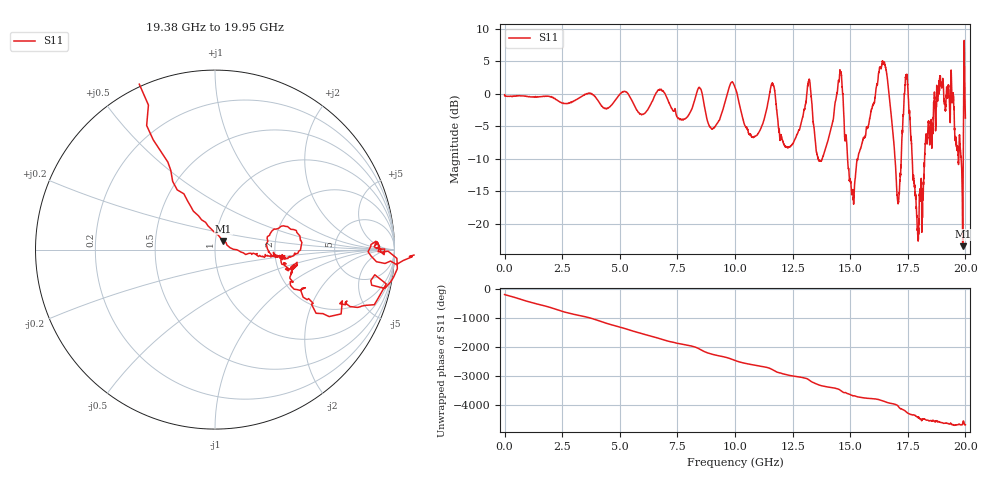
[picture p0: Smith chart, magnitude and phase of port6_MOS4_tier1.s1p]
! Created with skrf 1.8.0 (http://scikit-rf.org).
# GHz S RI R 50.0
!freq ReS11 ImS11
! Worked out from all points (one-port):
!   10001 points, 1 MHz to 20 GHz, reference 50 ohm
!   lowest |S11| = -23.4 dB at 19.88 GHz (marker M1), VSWR 1.14, Z = 54.7 + j5.29 ohm
!   |S11| at or under -10 dB: 14.89 GHz to 15.3 GHz (415.1 MHz wide, 2.75 % of centre); 16.95 GHz to 17.22 GHz (270.8 MHz wide, 1.59 % of centre); 17.7 GHz to 18.23 GHz (532.1 MHz wide, 2.96 % of centre) (the widest 3 of 8)
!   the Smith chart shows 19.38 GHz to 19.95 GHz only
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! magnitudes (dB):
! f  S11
! 1 MHz  -0.2
! 2.501 GHz  -1.4
! 5.001 GHz  0.0
! 6.803 GHz  0.7
! 7.501 GHz  -3.6
! 8.465 GHz  1.0
! 9.059 GHz  -5.3
! 10 GHz  1.0
! 10.8 GHz  -6.7
! 11.64 GHz  1.5
! 12 GHz  -6.4
! 12.5 GHz  -7.7
! 13.21 GHz  2.1
! 13.75 GHz  -10.2
! 14.56 GHz  3.4
! 15 GHz  -13.4
! 15.15 GHz  -16.7
! 16.45 GHz  4.6
! 17.09 GHz  -16.6
! 17.38 GHz  1.2
! 17.5 GHz  1.0
! 17.91 GHz  -21.0
! 18.33 GHz  -7.4
! 18.94 GHz  1.7
! 19.45 GHz  -0.9
! 19.8 GHz  -9.4
! 19.88 GHz  -23.4
! 20 GHz  -3.7
